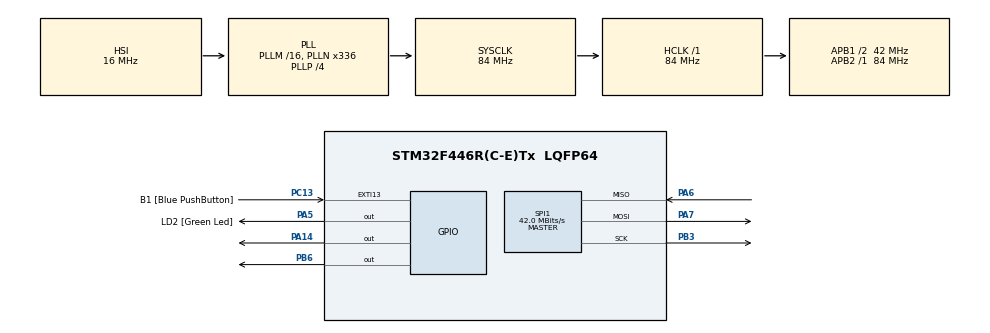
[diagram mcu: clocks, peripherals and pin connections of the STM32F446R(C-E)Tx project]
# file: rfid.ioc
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Mcu.Family=STM32F4
Mcu.Name=STM32F446R(C-E)Tx
Mcu.Package=LQFP64
NVIC.PriorityGroup=NVIC_PRIORITYGROUP_0
PA13.GPIO_Label=TMS
PA13.Signal=SYS_JTMS-SWDIO
PA14.Signal=GPIO_Output
PA5.GPIO_Label=LD2 [Green Led]
PA5.Signal=GPIO_Output
PA6.Mode=Full_Duplex_Master
PA6.Signal=SPI1_MISO
PA7.Mode=Full_Duplex_Master
PA7.Signal=SPI1_MOSI
PB3.Mode=Full_Duplex_Master
PB3.Signal=SPI1_SCK
PB6.Signal=GPIO_Output
PC13.GPIO_Label=B1 [Blue PushButton]
PC13.GPIO_ModeDefaultEXTI=GPIO_MODE_IT_FALLING
PC13.Signal=GPXTI13
PC14-OSC32_IN.Mode=LSE-External-Oscillator
PC14-OSC32_IN.Signal=RCC_OSC32_IN
PC15-OSC32_OUT.Mode=LSE-External-Oscillator
PC15-OSC32_OUT.Signal=RCC_OSC32_OUT
PH0-OSC_IN.Mode=HSE-External-Oscillator
PH0-OSC_IN.Signal=RCC_OSC_IN
PH1-OSC_OUT.Mode=HSE-External-Oscillator
PH1-OSC_OUT.Signal=RCC_OSC_OUT
ProjectManager.HeapSize=0x200
ProjectManager.StackSize=0x400
ProjectManager.TargetToolchain=STM32CubeIDE
RCC.48MHZClocksFreq_Value=84000000
RCC.AHBFreq_Value=84000000
RCC.APB1CLKDivider=RCC_HCLK_DIV2
RCC.APB1Freq_Value=42000000
RCC.APB1TimFreq_Value=84000000
RCC.APB2Freq_Value=84000000
RCC.APB2TimFreq_Value=84000000
RCC.CortexFreq_Value=84000000
RCC.FLatency-AdvancedSettings=FLASH_LATENCY_2
RCC.HCLKFreq_Value=84000000
RCC.HSE_VALUE=8000000
RCC.HSI_VALUE=16000000
RCC.PLLN=336
RCC.PLLP=RCC_PLLP_DIV4
RCC.SYSCLKFreq_VALUE=84000000
RCC.SYSCLKSource=RCC_SYSCLKSOURCE_PLLCLK
RCC.USBFreq_Value=168000000
RCC.VCOOutputFreq_Value=336000000
SPI1.CalculateBaudRate=42.0 MBits/s
SPI1.Direction=SPI_DIRECTION_2LINES
SPI1.Mode=SPI_MODE_MASTER
SPI1.VirtualType=VM_MASTER
board=NUCLEO-F446RE

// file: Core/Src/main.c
/* USER CODE BEGIN Header */
/**
  ******************************************************************************
  * @file           : main.c
  * @brief          : Main program body
  ******************************************************************************
  * @attention
  *
  * Copyright (c) 2025 STMicroelectronics.
  * All rights reserved.
  *
  * This software is licensed under terms that can be found in the LICENSE file
  * in the root directory of this software component.
  * If no LICENSE file comes with this software, it is provided AS-IS.
  *
  ******************************************************************************
  */
/* USER CODE END Header */
#include "main.h"

SPI_HandleTypeDef hspi1;

void SystemClock_Config(void);
static void MX_GPIO_Init(void);
static void MX_SPI1_Init(void);

/* USER CODE BEGIN 0 */
void spi_cs_rfid_write(bool state)
{
	if(state)
	  {
	    HAL_GPIO_WritePin(GPIOB, GPIO_PIN_6, 1);
	  }
	  else
	  {
		  HAL_GPIO_WritePin(GPIOB, GPIO_PIN_6, 0);
	  }
}
uint8_t rc522_regRead8(uint8_t reg)
{
  spi_cs_rfid_write(0);
  reg = ((reg << 1) & 0x7E) | 0x80;
  HAL_SPI_Transmit(&hspi1, reg, 1, 100);
  uint8_t dataRd=0;
  HAL_SPI_Receive(&hspi1, &dataRd, 1, 100);
  spi_cs_rfid_write(1);
  return dataRd;
}
void rc522_regWrite8(uint8_t reg, uint8_t data8)
{
  spi_cs_rfid_write(0);
  uint8_t txData[2] = {0x7E&(reg << 1), data8};
  HAL_SPI_Transmit(&hspi1, txData, 2, 100);
  spi_cs_rfid_write(1);
}
void rc522_setBit(uint8_t reg, uint8_t mask)
{
  rc522_regWrite8(reg, rc522_regRead8(reg)|mask);
}

/**
 * @brief clear bit
 */
void rc522_clearBit(uint8_t reg, uint8_t mask)
{
  rc522_regWrite8(reg, rc522_regRead8(reg)&(~mask));
}

/**
 * @brief reset function
 */
void rc522_reset(void)
{
  rc522_regWrite8(0x01, 0x0F);
}
/**
 * @brief Antenna ON
 */
void rc522_antennaON(void)
{
  uint8_t temp;

  temp = rc522_regRead8(MFRC522_REG_TX_CONTROL);
  if (!(temp & 0x03)) {
    rc522_setBit(MFRC522_REG_TX_CONTROL, 0x03);
  }
}
bool rc522_checkCard(uint8_t *id)
{
  bool status=false;
  //Find cards, return card type
    status = rc522_request(PICC_REQIDL, id);
    if (status == true) {
      //Card detected
      //Anti-collision, return card serial number 4 bytes
      status = rc522_antiColl(id);
    }
    rc522_halt();      //Command card into hibernation

    return status;
}
bool rc522_request(uint8_t reqMode, uint8_t *tagType)
{
  bool status=false;
  uint16_t backBits;
  rc522_regWrite8(MFRC522_REG_BIT_FRAMING, 0x07);
  tagType[0] = reqMode;
  status = rc522_toCard(PCD_TRANSCEIVE, tagType, 1, tagType, &backBits);
  if ((status != true) || (backBits != 0x10)) {
    status = false;
  }
  return status;
}

/* USER CODE END 0 */

int main(void)
{

  /* MCU Configuration--------------------------------------------------------*/

  /* Reset of all peripherals, Initializes the Flash interface and the Systick. */
  HAL_Init();

  /* Configure the system clock */
  SystemClock_Config();

  /* Initialize all configured peripherals */
  MX_GPIO_Init();
  MX_SPI1_Init();

  /* Infinite loop */
  while (1)
  {

  }
}

void SystemClock_Config(void)
{
  RCC_OscInitTypeDef RCC_OscInitStruct = {0};
  RCC_ClkInitTypeDef RCC_ClkInitStruct = {0};

  /** Configure the main internal regulator output voltage
  */
  __HAL_RCC_PWR_CLK_ENABLE();
  __HAL_PWR_VOLTAGESCALING_CONFIG(PWR_REGULATOR_VOLTAGE_SCALE3);

  /** Initializes the RCC Oscillators according to the specified parameters
  * in the RCC_OscInitTypeDef structure.
  */
  RCC_OscInitStruct.OscillatorType = RCC_OSCILLATORTYPE_HSI;
  RCC_OscInitStruct.HSIState = RCC_HSI_ON;
  RCC_OscInitStruct.HSICalibrationValue = RCC_HSICALIBRATION_DEFAULT;
  RCC_OscInitStruct.PLL.PLLState = RCC_PLL_ON;
  RCC_OscInitStruct.PLL.PLLSource = RCC_PLLSOURCE_HSI;
  RCC_OscInitStruct.PLL.PLLM = 16;
  RCC_OscInitStruct.PLL.PLLN = 336;
  RCC_OscInitStruct.PLL.PLLP = RCC_PLLP_DIV4;
  RCC_OscInitStruct.PLL.PLLQ = 2;
  RCC_OscInitStruct.PLL.PLLR = 2;
  if (HAL_RCC_OscConfig(&RCC_OscInitStruct) != HAL_OK)
  {
    Error_Handler();
  }

  /** Initializes the CPU, AHB and APB buses clocks
  */
  RCC_ClkInitStruct.ClockType = RCC_CLOCKTYPE_HCLK|RCC_CLOCKTYPE_SYSCLK
                              |RCC_CLOCKTYPE_PCLK1|RCC_CLOCKTYPE_PCLK2;
  RCC_ClkInitStruct.SYSCLKSource = RCC_SYSCLKSOURCE_PLLCLK;
  RCC_ClkInitStruct.AHBCLKDivider = RCC_SYSCLK_DIV1;
  RCC_ClkInitStruct.APB1CLKDivider = RCC_HCLK_DIV2;
  RCC_ClkInitStruct.APB2CLKDivider = RCC_HCLK_DIV1;

  if (HAL_RCC_ClockConfig(&RCC_ClkInitStruct, FLASH_LATENCY_2) != HAL_OK)
  {
    Error_Handler();
  }
}

static void MX_SPI1_Init(void)
{

  /* SPI1 parameter configuration*/
  hspi1.Instance = SPI1;
  hspi1.Init.Mode = SPI_MODE_MASTER;
  hspi1.Init.Direction = SPI_DIRECTION_2LINES;
  hspi1.Init.DataSize = SPI_DATASIZE_8BIT;
  hspi1.Init.CLKPolarity = SPI_POLARITY_LOW;
  hspi1.Init.CLKPhase = SPI_PHASE_1EDGE;
  hspi1.Init.NSS = SPI_NSS_SOFT;
  hspi1.Init.BaudRatePrescaler = SPI_BAUDRATEPRESCALER_2;
  hspi1.Init.FirstBit = SPI_FIRSTBIT_MSB;
  hspi1.Init.TIMode = SPI_TIMODE_DISABLE;
  hspi1.Init.CRCCalculation = SPI_CRCCALCULATION_DISABLE;
  hspi1.Init.CRCPolynomial = 10;
  if (HAL_SPI_Init(&hspi1) != HAL_OK)
  {
    Error_Handler();
  }

}

static void MX_GPIO_Init(void)
{
  GPIO_InitTypeDef GPIO_InitStruct = {0};

  /* GPIO Ports Clock Enable */
  __HAL_RCC_GPIOC_CLK_ENABLE();
  __HAL_RCC_GPIOH_CLK_ENABLE();
  __HAL_RCC_GPIOA_CLK_ENABLE();
  __HAL_RCC_GPIOB_CLK_ENABLE();

  /*Configure GPIO pin Output Level */
  HAL_GPIO_WritePin(GPIOA, LD2_Pin|GPIO_PIN_14, GPIO_PIN_RESET);

  /*Configure GPIO pin Output Level */
  HAL_GPIO_WritePin(GPIOB, GPIO_PIN_6, GPIO_PIN_RESET);

  /*Configure GPIO pin : B1_Pin */
  GPIO_InitStruct.Pin = B1_Pin;
  GPIO_InitStruct.Mode = GPIO_MODE_IT_FALLING;
  GPIO_InitStruct.Pull = GPIO_NOPULL;
  HAL_GPIO_Init(B1_GPIO_Port, &GPIO_InitStruct);

  /*Configure GPIO pins : LD2_Pin PA14 */
  GPIO_InitStruct.Pin = LD2_Pin|GPIO_PIN_14;
  GPIO_InitStruct.Mode = GPIO_MODE_OUTPUT_PP;
  GPIO_InitStruct.Pull = GPIO_NOPULL;
  GPIO_InitStruct.Speed = GPIO_SPEED_FREQ_LOW;
  HAL_GPIO_Init(GPIOA, &GPIO_InitStruct);

  /*Configure GPIO pin : PB6 */
  GPIO_InitStruct.Pin = GPIO_PIN_6;
  GPIO_InitStruct.Mode = GPIO_MODE_OUTPUT_PP;
  GPIO_InitStruct.Pull = GPIO_NOPULL;
  GPIO_InitStruct.Speed = GPIO_SPEED_FREQ_LOW;
  HAL_GPIO_Init(GPIOB, &GPIO_InitStruct);

}

void Error_Handler(void)
{
  __disable_irq();
  while (1)
  {
  }
}
